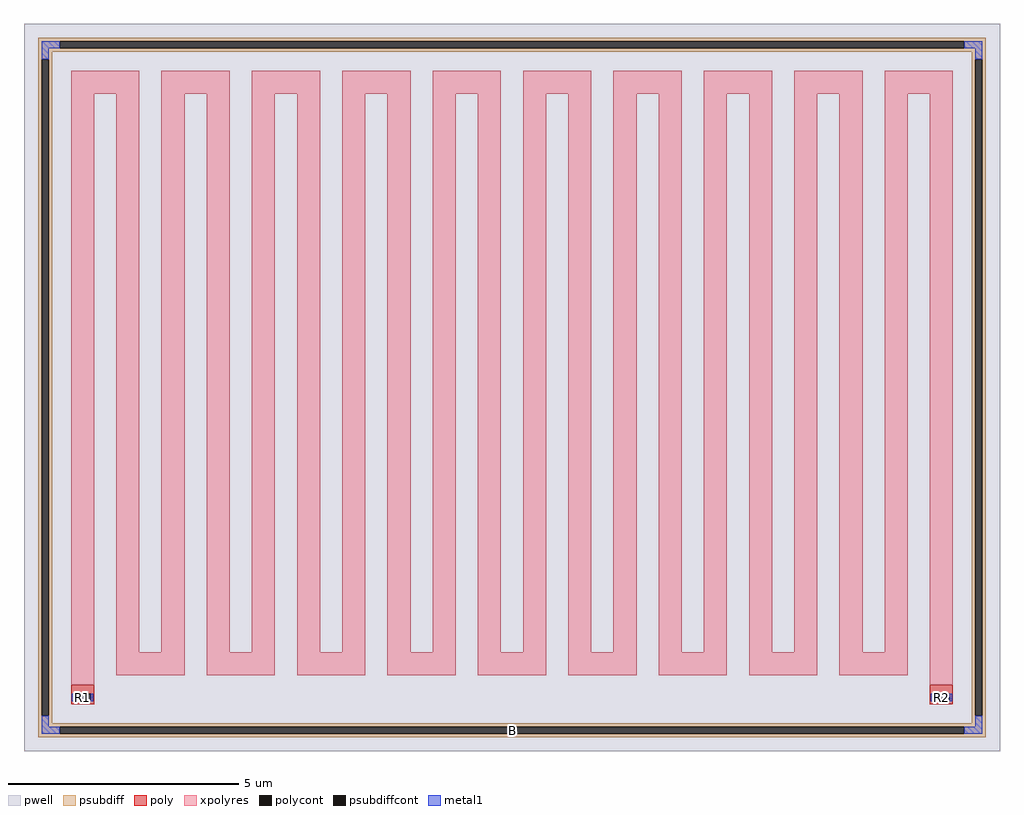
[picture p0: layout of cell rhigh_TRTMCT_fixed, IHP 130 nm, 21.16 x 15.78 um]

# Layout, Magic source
magic
tech ihp-sg13cmos5l
<< pwell >>
rect 4089 1501 6205 3079
<< psubdiff >>
rect 4120 3041 6174 3048
rect 4120 3025 4166 3041
rect 6128 3025 6174 3041
rect 4120 3018 6174 3025
rect 4120 3002 4150 3018
rect 4120 1578 4127 3002
rect 4143 1578 4150 3002
rect 6144 3002 6174 3018
rect 4120 1562 4150 1578
rect 6144 1578 6151 3002
rect 6167 1578 6174 3002
rect 6144 1562 6174 1578
rect 4120 1555 6174 1562
rect 4120 1539 4166 1555
rect 6128 1539 6174 1555
rect 4120 1532 6174 1539
<< psubdiffcont >>
rect 4166 3025 6128 3041
rect 4127 1578 4143 3002
rect 6151 1578 6167 3002
rect 4166 1539 6128 1555
<< poly >>
rect 4191 1626 4241 1646
rect 4191 1610 4198 1626
rect 4234 1610 4241 1626
rect 4191 1603 4241 1610
rect 6053 1626 6103 1646
rect 6053 1610 6060 1626
rect 6096 1610 6103 1626
rect 6053 1603 6103 1610
<< polycont >>
rect 4198 1610 4234 1626
rect 6060 1610 6096 1626
<< xpolyres >>
rect 4191 2927 4339 2977
rect 4191 1646 4241 2927
rect 4289 1716 4339 2927
rect 4387 2927 4535 2977
rect 4387 1716 4437 2927
rect 4289 1666 4437 1716
rect 4485 1716 4535 2927
rect 4583 2927 4731 2977
rect 4583 1716 4633 2927
rect 4485 1666 4633 1716
rect 4681 1716 4731 2927
rect 4779 2927 4927 2977
rect 4779 1716 4829 2927
rect 4681 1666 4829 1716
rect 4877 1716 4927 2927
rect 4975 2927 5123 2977
rect 4975 1716 5025 2927
rect 4877 1666 5025 1716
rect 5073 1716 5123 2927
rect 5171 2927 5319 2977
rect 5171 1716 5221 2927
rect 5073 1666 5221 1716
rect 5269 1716 5319 2927
rect 5367 2927 5515 2977
rect 5367 1716 5417 2927
rect 5269 1666 5417 1716
rect 5465 1716 5515 2927
rect 5563 2927 5711 2977
rect 5563 1716 5613 2927
rect 5465 1666 5613 1716
rect 5661 1716 5711 2927
rect 5759 2927 5907 2977
rect 5759 1716 5809 2927
rect 5661 1666 5809 1716
rect 5857 1716 5907 2927
rect 5955 2927 6103 2977
rect 5955 1716 6005 2927
rect 5857 1666 6005 1716
rect 6053 1646 6103 2927
<< metal1 >>
rect 4127 3025 4166 3041
rect 6128 3025 6167 3041
rect 4127 3002 4143 3025
rect 6151 3002 6167 3025
rect 4193 1610 4198 1626
rect 4234 1610 4239 1626
rect 6055 1610 6060 1626
rect 6096 1610 6101 1626
rect 4127 1555 4143 1578
rect 6151 1555 6167 1578
rect 4127 1539 4166 1555
rect 6128 1539 6167 1555
<< labels >>
rlabel psubdiffcont 5147 1547 5147 1547 0 B
port 1 nsew
rlabel polycont 4216 1618 4216 1618 0 R1
port 2 nsew
rlabel polycont 6078 1618 6078 1618 0 R2
port 3 nsew
<< properties >>
string FIXED_BBOX 4135 1547 6159 3033
string gencell rhigh
string library sg13cmos5l
string MASKHINTS_CONTBAR 4191 1603 6103 2977
string parameters w 0.5 l 13.11 m 1 nx 20 wmin 0.50 lmin 0.50 class resistor rho 1360 val 739.024k dummy 0 dw 0.0 term 0.0 sterm 0.0 caplen 0 bar 1 guard 1 glc 1 grc 1 gtc 1 gbc 1 snake 1 full_metal 1 n_guard 0 hv_guard 0 vias 0 viagb 0 viagt 0 viagl 0 viagr 0 doports 1
<< end >>
